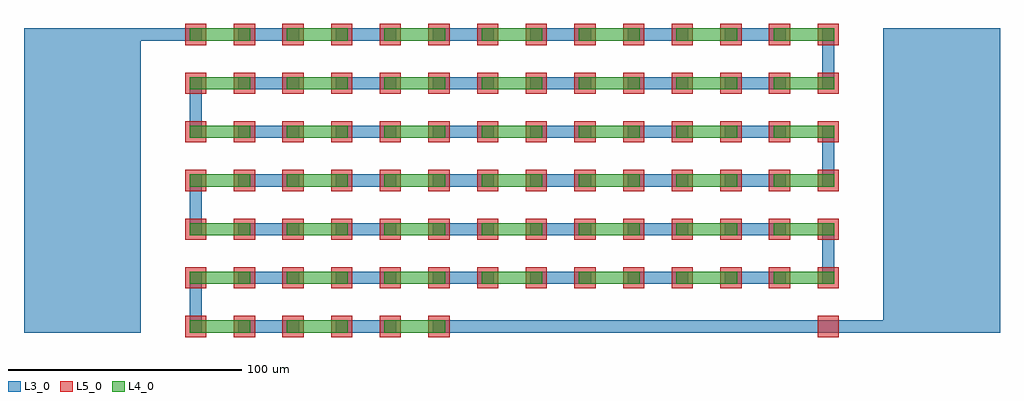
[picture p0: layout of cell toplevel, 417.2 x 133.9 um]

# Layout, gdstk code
from math import pi, radians
import gdstk
lib = gdstk.Library(unit=1e-6, precision=1e-09)
def R(c, l, rs):  # rectangles x0, y0, x1, y1
    for r in rs: c.add(gdstk.rectangle(r[:2], r[2:], *l))
L3_0 = (3, 0)
L4_0 = (4, 0)
L5_0 = (5, 0)

pad000001 = lib.new_cell('Pad000001')
R(pad000001, L3_0, [(0,0,50,130)])

waveguide000003 = lib.new_cell('waveguide000003')
R(waveguide000003, L3_0, [(0,0,26,5.2)])

via000004 = lib.new_cell('via000004')
R(via000004, L5_0, [(0,0,9.1,9.1)])

head_tail000002 = lib.new_cell('Head/Tail000002')
head_tail000002.add(gdstk.Reference(waveguide000003, (0,0)))
head_tail000002.add(gdstk.Reference(via000004, (-1.95,-1.95)))

pad000005 = lib.new_cell('Pad000005')
R(pad000005, L3_0, [(0,0,50,130)])

waveguide000007 = lib.new_cell('waveguide000007')
R(waveguide000007, L3_0, [(0,0,26,5.2)])

via000008 = lib.new_cell('via000008')
R(via000008, L5_0, [(0,0,9.1,9.1)])

head_tail000006 = lib.new_cell('Head/Tail000006')
head_tail000006.add(gdstk.Reference(waveguide000007, (0,0)))
head_tail000006.add(gdstk.Reference(via000008, (-1.95,-1.95)))

waveguide000010 = lib.new_cell('waveguide000010')
R(waveguide000010, L4_0, [(0,0,26,5.2)])

waveguide000011 = lib.new_cell('waveguide000011')
R(waveguide000011, L3_0, [(0,0,26,5.2)])

via000012 = lib.new_cell('via000012')
R(via000012, L5_0, [(0,0,9.1,9.1)])

waveguide000013 = lib.new_cell('waveguide000013')
R(waveguide000013, L4_0, [(0,0,26,5.2)])

via000014 = lib.new_cell('via000014')
R(via000014, L5_0, [(0,0,9.1,9.1)])

waveguide000015 = lib.new_cell('waveguide000015')
R(waveguide000015, L3_0, [(0,0,26,5.2)])

via000016 = lib.new_cell('via000016')
R(via000016, L5_0, [(0,0,9.1,9.1)])

waveguide000017 = lib.new_cell('waveguide000017')
R(waveguide000017, L4_0, [(0,0,26,5.2)])

via000018 = lib.new_cell('via000018')
R(via000018, L5_0, [(0,0,9.1,9.1)])

waveguide000019 = lib.new_cell('waveguide000019')
R(waveguide000019, L3_0, [(0,0,26,5.2)])

via000020 = lib.new_cell('via000020')
R(via000020, L5_0, [(0,0,9.1,9.1)])

waveguide000021 = lib.new_cell('waveguide000021')
R(waveguide000021, L4_0, [(0,0,26,5.2)])

via000022 = lib.new_cell('via000022')
R(via000022, L5_0, [(0,0,9.1,9.1)])

waveguide000023 = lib.new_cell('waveguide000023')
R(waveguide000023, L3_0, [(0,0,26,5.2)])

via000024 = lib.new_cell('via000024')
R(via000024, L5_0, [(0,0,9.1,9.1)])

waveguide000025 = lib.new_cell('waveguide000025')
R(waveguide000025, L4_0, [(0,0,26,5.2)])

via000026 = lib.new_cell('via000026')
R(via000026, L5_0, [(0,0,9.1,9.1)])

waveguide000027 = lib.new_cell('waveguide000027')
R(waveguide000027, L3_0, [(0,0,26,5.2)])

via000028 = lib.new_cell('via000028')
R(via000028, L5_0, [(0,0,9.1,9.1)])

waveguide000029 = lib.new_cell('waveguide000029')
R(waveguide000029, L4_0, [(0,0,26,5.2)])

via000030 = lib.new_cell('via000030')
R(via000030, L5_0, [(0,0,9.1,9.1)])

waveguide000031 = lib.new_cell('waveguide000031')
R(waveguide000031, L3_0, [(0,0,26,5.2)])

via000032 = lib.new_cell('via000032')
R(via000032, L5_0, [(0,0,9.1,9.1)])

waveguide000033 = lib.new_cell('waveguide000033')
R(waveguide000033, L4_0, [(0,0,26,5.2)])

via000034 = lib.new_cell('via000034')
R(via000034, L5_0, [(0,0,9.1,9.1)])

row000009 = lib.new_cell('Row000009')
row000009.add(gdstk.Reference(waveguide000010, (0,0)))
row000009.add(gdstk.Reference(waveguide000011, (20.8,0)))
row000009.add(gdstk.Reference(via000012, (18.85,-1.95)))
row000009.add(gdstk.Reference(waveguide000013, (41.6,0)))
row000009.add(gdstk.Reference(via000014, (39.65,-1.95)))
row000009.add(gdstk.Reference(waveguide000015, (62.4,0)))
row000009.add(gdstk.Reference(via000016, (60.45,-1.95)))
row000009.add(gdstk.Reference(waveguide000017, (83.2,0)))
row000009.add(gdstk.Reference(via000018, (81.25,-1.95)))
row000009.add(gdstk.Reference(waveguide000019, (104,0)))
row000009.add(gdstk.Reference(via000020, (102.05,-1.95)))
row000009.add(gdstk.Reference(waveguide000021, (124.8,0)))
row000009.add(gdstk.Reference(via000022, (122.85,-1.95)))
row000009.add(gdstk.Reference(waveguide000023, (145.6,0)))
row000009.add(gdstk.Reference(via000024, (143.65,-1.95)))
row000009.add(gdstk.Reference(waveguide000025, (166.4,0)))
row000009.add(gdstk.Reference(via000026, (164.45,-1.95)))
row000009.add(gdstk.Reference(waveguide000027, (187.2,0)))
row000009.add(gdstk.Reference(via000028, (185.25,-1.95)))
row000009.add(gdstk.Reference(waveguide000029, (208,0)))
row000009.add(gdstk.Reference(via000030, (206.05,-1.95)))
row000009.add(gdstk.Reference(waveguide000031, (228.8,0)))
row000009.add(gdstk.Reference(via000032, (226.85,-1.95)))
row000009.add(gdstk.Reference(waveguide000033, (249.6,0)))
row000009.add(gdstk.Reference(via000034, (247.65,-1.95)))

via000036 = lib.new_cell('via000036')
R(via000036, L5_0, [(0,0,9.1,9.1)])

via000037 = lib.new_cell('via000037')
R(via000037, L5_0, [(0,0,9.1,9.1)])

waveguide000038 = lib.new_cell('waveguide000038')
R(waveguide000038, L3_0, [(0,0,26,5.2)])

corner_top000035 = lib.new_cell('Corner Top000035')
corner_top000035.add(gdstk.Reference(via000036, (18.85,7.15), rotation=3*pi/2))
corner_top000035.add(gdstk.Reference(via000037, (7.15,-1.95), rotation=pi/2))
corner_top000035.add(gdstk.Reference(waveguide000038, (0,0)))

waveguide000040 = lib.new_cell('waveguide000040')
R(waveguide000040, L4_0, [(0,0,26,5.2)])

waveguide000041 = lib.new_cell('waveguide000041')
R(waveguide000041, L3_0, [(0,0,26,5.2)])

via000042 = lib.new_cell('via000042')
R(via000042, L5_0, [(0,0,9.1,9.1)])

waveguide000043 = lib.new_cell('waveguide000043')
R(waveguide000043, L4_0, [(0,0,26,5.2)])

via000044 = lib.new_cell('via000044')
R(via000044, L5_0, [(0,0,9.1,9.1)])

waveguide000045 = lib.new_cell('waveguide000045')
R(waveguide000045, L3_0, [(0,0,26,5.2)])

via000046 = lib.new_cell('via000046')
R(via000046, L5_0, [(0,0,9.1,9.1)])

waveguide000047 = lib.new_cell('waveguide000047')
R(waveguide000047, L4_0, [(0,0,26,5.2)])

via000048 = lib.new_cell('via000048')
R(via000048, L5_0, [(0,0,9.1,9.1)])

waveguide000049 = lib.new_cell('waveguide000049')
R(waveguide000049, L3_0, [(0,0,26,5.2)])

via000050 = lib.new_cell('via000050')
R(via000050, L5_0, [(0,0,9.1,9.1)])

waveguide000051 = lib.new_cell('waveguide000051')
R(waveguide000051, L4_0, [(0,0,26,5.2)])

via000052 = lib.new_cell('via000052')
R(via000052, L5_0, [(0,0,9.1,9.1)])

waveguide000053 = lib.new_cell('waveguide000053')
R(waveguide000053, L3_0, [(0,0,26,5.2)])

via000054 = lib.new_cell('via000054')
R(via000054, L5_0, [(0,0,9.1,9.1)])

waveguide000055 = lib.new_cell('waveguide000055')
R(waveguide000055, L4_0, [(0,0,26,5.2)])

via000056 = lib.new_cell('via000056')
R(via000056, L5_0, [(0,0,9.1,9.1)])

waveguide000057 = lib.new_cell('waveguide000057')
R(waveguide000057, L3_0, [(0,0,26,5.2)])

via000058 = lib.new_cell('via000058')
R(via000058, L5_0, [(0,0,9.1,9.1)])

waveguide000059 = lib.new_cell('waveguide000059')
R(waveguide000059, L4_0, [(0,0,26,5.2)])

via000060 = lib.new_cell('via000060')
R(via000060, L5_0, [(0,0,9.1,9.1)])

waveguide000061 = lib.new_cell('waveguide000061')
R(waveguide000061, L3_0, [(0,0,26,5.2)])

via000062 = lib.new_cell('via000062')
R(via000062, L5_0, [(0,0,9.1,9.1)])

waveguide000063 = lib.new_cell('waveguide000063')
R(waveguide000063, L4_0, [(0,0,26,5.2)])

via000064 = lib.new_cell('via000064')
R(via000064, L5_0, [(0,0,9.1,9.1)])

row000039 = lib.new_cell('Row000039')
row000039.add(gdstk.Reference(waveguide000040, (0,0)))
row000039.add(gdstk.Reference(waveguide000041, (20.8,0)))
row000039.add(gdstk.Reference(via000042, (18.85,-1.95)))
row000039.add(gdstk.Reference(waveguide000043, (41.6,0)))
row000039.add(gdstk.Reference(via000044, (39.65,-1.95)))
row000039.add(gdstk.Reference(waveguide000045, (62.4,0)))
row000039.add(gdstk.Reference(via000046, (60.45,-1.95)))
row000039.add(gdstk.Reference(waveguide000047, (83.2,0)))
row000039.add(gdstk.Reference(via000048, (81.25,-1.95)))
row000039.add(gdstk.Reference(waveguide000049, (104,0)))
row000039.add(gdstk.Reference(via000050, (102.05,-1.95)))
row000039.add(gdstk.Reference(waveguide000051, (124.8,0)))
row000039.add(gdstk.Reference(via000052, (122.85,-1.95)))
row000039.add(gdstk.Reference(waveguide000053, (145.6,0)))
row000039.add(gdstk.Reference(via000054, (143.65,-1.95)))
row000039.add(gdstk.Reference(waveguide000055, (166.4,0)))
row000039.add(gdstk.Reference(via000056, (164.45,-1.95)))
row000039.add(gdstk.Reference(waveguide000057, (187.2,0)))
row000039.add(gdstk.Reference(via000058, (185.25,-1.95)))
row000039.add(gdstk.Reference(waveguide000059, (208,0)))
row000039.add(gdstk.Reference(via000060, (206.05,-1.95)))
row000039.add(gdstk.Reference(waveguide000061, (228.8,0)))
row000039.add(gdstk.Reference(via000062, (226.85,-1.95)))
row000039.add(gdstk.Reference(waveguide000063, (249.6,0)))
row000039.add(gdstk.Reference(via000064, (247.65,-1.95)))

via000066 = lib.new_cell('via000066')
R(via000066, L5_0, [(0,0,9.1,9.1)])

via000067 = lib.new_cell('via000067')
R(via000067, L5_0, [(0,0,9.1,9.1)])

waveguide000068 = lib.new_cell('waveguide000068')
R(waveguide000068, L3_0, [(0,0,26,5.2)])

corner_top000065 = lib.new_cell('Corner Top000065')
corner_top000065.add(gdstk.Reference(via000066, (18.85,7.15), rotation=3*pi/2))
corner_top000065.add(gdstk.Reference(via000067, (7.15,-1.95), rotation=pi/2))
corner_top000065.add(gdstk.Reference(waveguide000068, (0,0)))

waveguide000070 = lib.new_cell('waveguide000070')
R(waveguide000070, L4_0, [(0,0,26,5.2)])

waveguide000071 = lib.new_cell('waveguide000071')
R(waveguide000071, L3_0, [(0,0,26,5.2)])

via000072 = lib.new_cell('via000072')
R(via000072, L5_0, [(0,0,9.1,9.1)])

waveguide000073 = lib.new_cell('waveguide000073')
R(waveguide000073, L4_0, [(0,0,26,5.2)])

via000074 = lib.new_cell('via000074')
R(via000074, L5_0, [(0,0,9.1,9.1)])

waveguide000075 = lib.new_cell('waveguide000075')
R(waveguide000075, L3_0, [(0,0,26,5.2)])

via000076 = lib.new_cell('via000076')
R(via000076, L5_0, [(0,0,9.1,9.1)])

waveguide000077 = lib.new_cell('waveguide000077')
R(waveguide000077, L4_0, [(0,0,26,5.2)])

via000078 = lib.new_cell('via000078')
R(via000078, L5_0, [(0,0,9.1,9.1)])

waveguide000079 = lib.new_cell('waveguide000079')
R(waveguide000079, L3_0, [(0,0,26,5.2)])

via000080 = lib.new_cell('via000080')
R(via000080, L5_0, [(0,0,9.1,9.1)])

waveguide000081 = lib.new_cell('waveguide000081')
R(waveguide000081, L4_0, [(0,0,26,5.2)])

via000082 = lib.new_cell('via000082')
R(via000082, L5_0, [(0,0,9.1,9.1)])

waveguide000083 = lib.new_cell('waveguide000083')
R(waveguide000083, L3_0, [(0,0,26,5.2)])

via000084 = lib.new_cell('via000084')
R(via000084, L5_0, [(0,0,9.1,9.1)])

waveguide000085 = lib.new_cell('waveguide000085')
R(waveguide000085, L4_0, [(0,0,26,5.2)])

via000086 = lib.new_cell('via000086')
R(via000086, L5_0, [(0,0,9.1,9.1)])

waveguide000087 = lib.new_cell('waveguide000087')
R(waveguide000087, L3_0, [(0,0,26,5.2)])

via000088 = lib.new_cell('via000088')
R(via000088, L5_0, [(0,0,9.1,9.1)])

waveguide000089 = lib.new_cell('waveguide000089')
R(waveguide000089, L4_0, [(0,0,26,5.2)])

via000090 = lib.new_cell('via000090')
R(via000090, L5_0, [(0,0,9.1,9.1)])

waveguide000091 = lib.new_cell('waveguide000091')
R(waveguide000091, L3_0, [(0,0,26,5.2)])

via000092 = lib.new_cell('via000092')
R(via000092, L5_0, [(0,0,9.1,9.1)])

waveguide000093 = lib.new_cell('waveguide000093')
R(waveguide000093, L4_0, [(0,0,26,5.2)])

via000094 = lib.new_cell('via000094')
R(via000094, L5_0, [(0,0,9.1,9.1)])

row000069 = lib.new_cell('Row000069')
row000069.add(gdstk.Reference(waveguide000070, (0,0)))
row000069.add(gdstk.Reference(waveguide000071, (20.8,0)))
row000069.add(gdstk.Reference(via000072, (18.85,-1.95)))
row000069.add(gdstk.Reference(waveguide000073, (41.6,0)))
row000069.add(gdstk.Reference(via000074, (39.65,-1.95)))
row000069.add(gdstk.Reference(waveguide000075, (62.4,0)))
row000069.add(gdstk.Reference(via000076, (60.45,-1.95)))
row000069.add(gdstk.Reference(waveguide000077, (83.2,0)))
row000069.add(gdstk.Reference(via000078, (81.25,-1.95)))
row000069.add(gdstk.Reference(waveguide000079, (104,0)))
row000069.add(gdstk.Reference(via000080, (102.05,-1.95)))
row000069.add(gdstk.Reference(waveguide000081, (124.8,0)))
row000069.add(gdstk.Reference(via000082, (122.85,-1.95)))
row000069.add(gdstk.Reference(waveguide000083, (145.6,0)))
row000069.add(gdstk.Reference(via000084, (143.65,-1.95)))
row000069.add(gdstk.Reference(waveguide000085, (166.4,0)))
row000069.add(gdstk.Reference(via000086, (164.45,-1.95)))
row000069.add(gdstk.Reference(waveguide000087, (187.2,0)))
row000069.add(gdstk.Reference(via000088, (185.25,-1.95)))
row000069.add(gdstk.Reference(waveguide000089, (208,0)))
row000069.add(gdstk.Reference(via000090, (206.05,-1.95)))
row000069.add(gdstk.Reference(waveguide000091, (228.8,0)))
row000069.add(gdstk.Reference(via000092, (226.85,-1.95)))
row000069.add(gdstk.Reference(waveguide000093, (249.6,0)))
row000069.add(gdstk.Reference(via000094, (247.65,-1.95)))

via000096 = lib.new_cell('via000096')
R(via000096, L5_0, [(0,0,9.1,9.1)])

via000097 = lib.new_cell('via000097')
R(via000097, L5_0, [(0,0,9.1,9.1)])

waveguide000098 = lib.new_cell('waveguide000098')
R(waveguide000098, L3_0, [(0,0,26,5.2)])

corner_top000095 = lib.new_cell('Corner Top000095')
corner_top000095.add(gdstk.Reference(via000096, (18.85,7.15), rotation=3*pi/2))
corner_top000095.add(gdstk.Reference(via000097, (7.15,-1.95), rotation=pi/2))
corner_top000095.add(gdstk.Reference(waveguide000098, (0,0)))

waveguide000100 = lib.new_cell('waveguide000100')
R(waveguide000100, L4_0, [(0,0,26,5.2)])

waveguide000101 = lib.new_cell('waveguide000101')
R(waveguide000101, L3_0, [(0,0,26,5.2)])

via000102 = lib.new_cell('via000102')
R(via000102, L5_0, [(0,0,9.1,9.1)])

waveguide000103 = lib.new_cell('waveguide000103')
R(waveguide000103, L4_0, [(0,0,26,5.2)])

via000104 = lib.new_cell('via000104')
R(via000104, L5_0, [(0,0,9.1,9.1)])

waveguide000105 = lib.new_cell('waveguide000105')
R(waveguide000105, L3_0, [(0,0,26,5.2)])

via000106 = lib.new_cell('via000106')
R(via000106, L5_0, [(0,0,9.1,9.1)])

waveguide000107 = lib.new_cell('waveguide000107')
R(waveguide000107, L4_0, [(0,0,26,5.2)])

via000108 = lib.new_cell('via000108')
R(via000108, L5_0, [(0,0,9.1,9.1)])

waveguide000109 = lib.new_cell('waveguide000109')
R(waveguide000109, L3_0, [(0,0,26,5.2)])

via000110 = lib.new_cell('via000110')
R(via000110, L5_0, [(0,0,9.1,9.1)])

waveguide000111 = lib.new_cell('waveguide000111')
R(waveguide000111, L4_0, [(0,0,26,5.2)])

via000112 = lib.new_cell('via000112')
R(via000112, L5_0, [(0,0,9.1,9.1)])

waveguide000113 = lib.new_cell('waveguide000113')
R(waveguide000113, L3_0, [(0,0,26,5.2)])

via000114 = lib.new_cell('via000114')
R(via000114, L5_0, [(0,0,9.1,9.1)])

waveguide000115 = lib.new_cell('waveguide000115')
R(waveguide000115, L4_0, [(0,0,26,5.2)])

via000116 = lib.new_cell('via000116')
R(via000116, L5_0, [(0,0,9.1,9.1)])

waveguide000117 = lib.new_cell('waveguide000117')
R(waveguide000117, L3_0, [(0,0,26,5.2)])

via000118 = lib.new_cell('via000118')
R(via000118, L5_0, [(0,0,9.1,9.1)])

waveguide000119 = lib.new_cell('waveguide000119')
R(waveguide000119, L4_0, [(0,0,26,5.2)])

via000120 = lib.new_cell('via000120')
R(via000120, L5_0, [(0,0,9.1,9.1)])

waveguide000121 = lib.new_cell('waveguide000121')
R(waveguide000121, L3_0, [(0,0,26,5.2)])

via000122 = lib.new_cell('via000122')
R(via000122, L5_0, [(0,0,9.1,9.1)])

waveguide000123 = lib.new_cell('waveguide000123')
R(waveguide000123, L4_0, [(0,0,26,5.2)])

via000124 = lib.new_cell('via000124')
R(via000124, L5_0, [(0,0,9.1,9.1)])

row000099 = lib.new_cell('Row000099')
row000099.add(gdstk.Reference(waveguide000100, (0,0)))
row000099.add(gdstk.Reference(waveguide000101, (20.8,0)))
row000099.add(gdstk.Reference(via000102, (18.85,-1.95)))
row000099.add(gdstk.Reference(waveguide000103, (41.6,0)))
row000099.add(gdstk.Reference(via000104, (39.65,-1.95)))
row000099.add(gdstk.Reference(waveguide000105, (62.4,0)))
row000099.add(gdstk.Reference(via000106, (60.45,-1.95)))
row000099.add(gdstk.Reference(waveguide000107, (83.2,0)))
row000099.add(gdstk.Reference(via000108, (81.25,-1.95)))
row000099.add(gdstk.Reference(waveguide000109, (104,0)))
row000099.add(gdstk.Reference(via000110, (102.05,-1.95)))
row000099.add(gdstk.Reference(waveguide000111, (124.8,0)))
row000099.add(gdstk.Reference(via000112, (122.85,-1.95)))
row000099.add(gdstk.Reference(waveguide000113, (145.6,0)))
row000099.add(gdstk.Reference(via000114, (143.65,-1.95)))
row000099.add(gdstk.Reference(waveguide000115, (166.4,0)))
row000099.add(gdstk.Reference(via000116, (164.45,-1.95)))
row000099.add(gdstk.Reference(waveguide000117, (187.2,0)))
row000099.add(gdstk.Reference(via000118, (185.25,-1.95)))
row000099.add(gdstk.Reference(waveguide000119, (208,0)))
row000099.add(gdstk.Reference(via000120, (206.05,-1.95)))
row000099.add(gdstk.Reference(waveguide000121, (228.8,0)))
row000099.add(gdstk.Reference(via000122, (226.85,-1.95)))
row000099.add(gdstk.Reference(waveguide000123, (249.6,0)))
row000099.add(gdstk.Reference(via000124, (247.65,-1.95)))

via000126 = lib.new_cell('via000126')
R(via000126, L5_0, [(0,0,9.1,9.1)])

via000127 = lib.new_cell('via000127')
R(via000127, L5_0, [(0,0,9.1,9.1)])

waveguide000128 = lib.new_cell('waveguide000128')
R(waveguide000128, L3_0, [(0,0,26,5.2)])

corner_top000125 = lib.new_cell('Corner Top000125')
corner_top000125.add(gdstk.Reference(via000126, (18.85,7.15), rotation=3*pi/2))
corner_top000125.add(gdstk.Reference(via000127, (7.15,-1.95), rotation=pi/2))
corner_top000125.add(gdstk.Reference(waveguide000128, (0,0)))

waveguide000130 = lib.new_cell('waveguide000130')
R(waveguide000130, L4_0, [(0,0,26,5.2)])

waveguide000131 = lib.new_cell('waveguide000131')
R(waveguide000131, L3_0, [(0,0,26,5.2)])

via000132 = lib.new_cell('via000132')
R(via000132, L5_0, [(0,0,9.1,9.1)])

waveguide000133 = lib.new_cell('waveguide000133')
R(waveguide000133, L4_0, [(0,0,26,5.2)])

via000134 = lib.new_cell('via000134')
R(via000134, L5_0, [(0,0,9.1,9.1)])

waveguide000135 = lib.new_cell('waveguide000135')
R(waveguide000135, L3_0, [(0,0,26,5.2)])

via000136 = lib.new_cell('via000136')
R(via000136, L5_0, [(0,0,9.1,9.1)])

waveguide000137 = lib.new_cell('waveguide000137')
R(waveguide000137, L4_0, [(0,0,26,5.2)])

via000138 = lib.new_cell('via000138')
R(via000138, L5_0, [(0,0,9.1,9.1)])

waveguide000139 = lib.new_cell('waveguide000139')
R(waveguide000139, L3_0, [(0,0,26,5.2)])

via000140 = lib.new_cell('via000140')
R(via000140, L5_0, [(0,0,9.1,9.1)])

waveguide000141 = lib.new_cell('waveguide000141')
R(waveguide000141, L4_0, [(0,0,26,5.2)])

via000142 = lib.new_cell('via000142')
R(via000142, L5_0, [(0,0,9.1,9.1)])

waveguide000143 = lib.new_cell('waveguide000143')
R(waveguide000143, L3_0, [(0,0,26,5.2)])

via000144 = lib.new_cell('via000144')
R(via000144, L5_0, [(0,0,9.1,9.1)])

waveguide000145 = lib.new_cell('waveguide000145')
R(waveguide000145, L4_0, [(0,0,26,5.2)])

via000146 = lib.new_cell('via000146')
R(via000146, L5_0, [(0,0,9.1,9.1)])

waveguide000147 = lib.new_cell('waveguide000147')
R(waveguide000147, L3_0, [(0,0,26,5.2)])

via000148 = lib.new_cell('via000148')
R(via000148, L5_0, [(0,0,9.1,9.1)])

waveguide000149 = lib.new_cell('waveguide000149')
R(waveguide000149, L4_0, [(0,0,26,5.2)])

via000150 = lib.new_cell('via000150')
R(via000150, L5_0, [(0,0,9.1,9.1)])

waveguide000151 = lib.new_cell('waveguide000151')
R(waveguide000151, L3_0, [(0,0,26,5.2)])

via000152 = lib.new_cell('via000152')
R(via000152, L5_0, [(0,0,9.1,9.1)])

waveguide000153 = lib.new_cell('waveguide000153')
R(waveguide000153, L4_0, [(0,0,26,5.2)])

via000154 = lib.new_cell('via000154')
R(via000154, L5_0, [(0,0,9.1,9.1)])

row000129 = lib.new_cell('Row000129')
row000129.add(gdstk.Reference(waveguide000130, (0,0)))
row000129.add(gdstk.Reference(waveguide000131, (20.8,0)))
row000129.add(gdstk.Reference(via000132, (18.85,-1.95)))
row000129.add(gdstk.Reference(waveguide000133, (41.6,0)))
row000129.add(gdstk.Reference(via000134, (39.65,-1.95)))
row000129.add(gdstk.Reference(waveguide000135, (62.4,0)))
row000129.add(gdstk.Reference(via000136, (60.45,-1.95)))
row000129.add(gdstk.Reference(waveguide000137, (83.2,0)))
row000129.add(gdstk.Reference(via000138, (81.25,-1.95)))
row000129.add(gdstk.Reference(waveguide000139, (104,0)))
row000129.add(gdstk.Reference(via000140, (102.05,-1.95)))
row000129.add(gdstk.Reference(waveguide000141, (124.8,0)))
row000129.add(gdstk.Reference(via000142, (122.85,-1.95)))
row000129.add(gdstk.Reference(waveguide000143, (145.6,0)))
row000129.add(gdstk.Reference(via000144, (143.65,-1.95)))
row000129.add(gdstk.Reference(waveguide000145, (166.4,0)))
row000129.add(gdstk.Reference(via000146, (164.45,-1.95)))
row000129.add(gdstk.Reference(waveguide000147, (187.2,0)))
row000129.add(gdstk.Reference(via000148, (185.25,-1.95)))
row000129.add(gdstk.Reference(waveguide000149, (208,0)))
row000129.add(gdstk.Reference(via000150, (206.05,-1.95)))
row000129.add(gdstk.Reference(waveguide000151, (228.8,0)))
row000129.add(gdstk.Reference(via000152, (226.85,-1.95)))
row000129.add(gdstk.Reference(waveguide000153, (249.6,0)))
row000129.add(gdstk.Reference(via000154, (247.65,-1.95)))

via000156 = lib.new_cell('via000156')
R(via000156, L5_0, [(0,0,9.1,9.1)])

via000157 = lib.new_cell('via000157')
R(via000157, L5_0, [(0,0,9.1,9.1)])

waveguide000158 = lib.new_cell('waveguide000158')
R(waveguide000158, L3_0, [(0,0,26,5.2)])

corner_top000155 = lib.new_cell('Corner Top000155')
corner_top000155.add(gdstk.Reference(via000156, (18.85,7.15), rotation=3*pi/2))
corner_top000155.add(gdstk.Reference(via000157, (7.15,-1.95), rotation=pi/2))
corner_top000155.add(gdstk.Reference(waveguide000158, (0,0)))

waveguide000160 = lib.new_cell('waveguide000160')
R(waveguide000160, L4_0, [(0,0,26,5.2)])

waveguide000161 = lib.new_cell('waveguide000161')
R(waveguide000161, L3_0, [(0,0,26,5.2)])

via000162 = lib.new_cell('via000162')
R(via000162, L5_0, [(0,0,9.1,9.1)])

waveguide000163 = lib.new_cell('waveguide000163')
R(waveguide000163, L4_0, [(0,0,26,5.2)])

via000164 = lib.new_cell('via000164')
R(via000164, L5_0, [(0,0,9.1,9.1)])

waveguide000165 = lib.new_cell('waveguide000165')
R(waveguide000165, L3_0, [(0,0,26,5.2)])

via000166 = lib.new_cell('via000166')
R(via000166, L5_0, [(0,0,9.1,9.1)])

waveguide000167 = lib.new_cell('waveguide000167')
R(waveguide000167, L4_0, [(0,0,26,5.2)])

via000168 = lib.new_cell('via000168')
R(via000168, L5_0, [(0,0,9.1,9.1)])

waveguide000169 = lib.new_cell('waveguide000169')
R(waveguide000169, L3_0, [(0,0,26,5.2)])

via000170 = lib.new_cell('via000170')
R(via000170, L5_0, [(0,0,9.1,9.1)])

waveguide000171 = lib.new_cell('waveguide000171')
R(waveguide000171, L4_0, [(0,0,26,5.2)])

via000172 = lib.new_cell('via000172')
R(via000172, L5_0, [(0,0,9.1,9.1)])

waveguide000173 = lib.new_cell('waveguide000173')
R(waveguide000173, L3_0, [(0,0,26,5.2)])

via000174 = lib.new_cell('via000174')
R(via000174, L5_0, [(0,0,9.1,9.1)])

waveguide000175 = lib.new_cell('waveguide000175')
R(waveguide000175, L4_0, [(0,0,26,5.2)])

via000176 = lib.new_cell('via000176')
R(via000176, L5_0, [(0,0,9.1,9.1)])

waveguide000177 = lib.new_cell('waveguide000177')
R(waveguide000177, L3_0, [(0,0,26,5.2)])

via000178 = lib.new_cell('via000178')
R(via000178, L5_0, [(0,0,9.1,9.1)])

waveguide000179 = lib.new_cell('waveguide000179')
R(waveguide000179, L4_0, [(0,0,26,5.2)])

via000180 = lib.new_cell('via000180')
R(via000180, L5_0, [(0,0,9.1,9.1)])

waveguide000181 = lib.new_cell('waveguide000181')
R(waveguide000181, L3_0, [(0,0,26,5.2)])

via000182 = lib.new_cell('via000182')
R(via000182, L5_0, [(0,0,9.1,9.1)])

waveguide000183 = lib.new_cell('waveguide000183')
R(waveguide000183, L4_0, [(0,0,26,5.2)])

via000184 = lib.new_cell('via000184')
R(via000184, L5_0, [(0,0,9.1,9.1)])

row000159 = lib.new_cell('Row000159')
row000159.add(gdstk.Reference(waveguide000160, (0,0)))
row000159.add(gdstk.Reference(waveguide000161, (20.8,0)))
row000159.add(gdstk.Reference(via000162, (18.85,-1.95)))
row000159.add(gdstk.Reference(waveguide000163, (41.6,0)))
row000159.add(gdstk.Reference(via000164, (39.65,-1.95)))
row000159.add(gdstk.Reference(waveguide000165, (62.4,0)))
row000159.add(gdstk.Reference(via000166, (60.45,-1.95)))
row000159.add(gdstk.Reference(waveguide000167, (83.2,0)))
row000159.add(gdstk.Reference(via000168, (81.25,-1.95)))
row000159.add(gdstk.Reference(waveguide000169, (104,0)))
row000159.add(gdstk.Reference(via000170, (102.05,-1.95)))
row000159.add(gdstk.Reference(waveguide000171, (124.8,0)))
row000159.add(gdstk.Reference(via000172, (122.85,-1.95)))
row000159.add(gdstk.Reference(waveguide000173, (145.6,0)))
row000159.add(gdstk.Reference(via000174, (143.65,-1.95)))
row000159.add(gdstk.Reference(waveguide000175, (166.4,0)))
row000159.add(gdstk.Reference(via000176, (164.45,-1.95)))
row000159.add(gdstk.Reference(waveguide000177, (187.2,0)))
row000159.add(gdstk.Reference(via000178, (185.25,-1.95)))
row000159.add(gdstk.Reference(waveguide000179, (208,0)))
row000159.add(gdstk.Reference(via000180, (206.05,-1.95)))
row000159.add(gdstk.Reference(waveguide000181, (228.8,0)))
row000159.add(gdstk.Reference(via000182, (226.85,-1.95)))
row000159.add(gdstk.Reference(waveguide000183, (249.6,0)))
row000159.add(gdstk.Reference(via000184, (247.65,-1.95)))

via000186 = lib.new_cell('via000186')
R(via000186, L5_0, [(0,0,9.1,9.1)])

via000187 = lib.new_cell('via000187')
R(via000187, L5_0, [(0,0,9.1,9.1)])

waveguide000188 = lib.new_cell('waveguide000188')
R(waveguide000188, L3_0, [(0,0,26,5.2)])

corner_top000185 = lib.new_cell('Corner Top000185')
corner_top000185.add(gdstk.Reference(via000186, (18.85,7.15), rotation=3*pi/2))
corner_top000185.add(gdstk.Reference(via000187, (7.15,-1.95), rotation=pi/2))
corner_top000185.add(gdstk.Reference(waveguide000188, (0,0)))

waveguide000191 = lib.new_cell('waveguide000191')
R(waveguide000191, L4_0, [(0,0,26,5.2)])

waveguide000192 = lib.new_cell('waveguide000192')
R(waveguide000192, L3_0, [(0,0,26,5.2)])

via000193 = lib.new_cell('via000193')
R(via000193, L5_0, [(0,0,9.1,9.1)])

waveguide000194 = lib.new_cell('waveguide000194')
R(waveguide000194, L4_0, [(0,0,26,5.2)])

via000195 = lib.new_cell('via000195')
R(via000195, L5_0, [(0,0,9.1,9.1)])

waveguide000196 = lib.new_cell('waveguide000196')
R(waveguide000196, L3_0, [(0,0,26,5.2)])

via000197 = lib.new_cell('via000197')
R(via000197, L5_0, [(0,0,9.1,9.1)])

waveguide000198 = lib.new_cell('waveguide000198')
R(waveguide000198, L4_0, [(0,0,26,5.2)])

via000199 = lib.new_cell('via000199')
R(via000199, L5_0, [(0,0,9.1,9.1)])

waveguide000200 = lib.new_cell('waveguide000200')
R(waveguide000200, L3_0, [(0,0,26,5.2)])

via000201 = lib.new_cell('via000201')
R(via000201, L5_0, [(0,0,9.1,9.1)])

row000190 = lib.new_cell('Row000190')
row000190.add(gdstk.Reference(waveguide000191, (0,0)))
row000190.add(gdstk.Reference(waveguide000192, (20.8,0)))
row000190.add(gdstk.Reference(via000193, (18.85,-1.95)))
row000190.add(gdstk.Reference(waveguide000194, (41.6,0)))
row000190.add(gdstk.Reference(via000195, (39.65,-1.95)))
row000190.add(gdstk.Reference(waveguide000196, (62.4,0)))
row000190.add(gdstk.Reference(via000197, (60.45,-1.95)))
row000190.add(gdstk.Reference(waveguide000198, (83.2,0)))
row000190.add(gdstk.Reference(via000199, (81.25,-1.95)))
row000190.add(gdstk.Reference(waveguide000200, (104,0)))
row000190.add(gdstk.Reference(via000201, (102.05,-1.95)))

waveguide000202 = lib.new_cell('waveguide000202')
R(waveguide000202, L3_0, [(0,0,145.6,5.2)])

last_row000189 = lib.new_cell('Last Row000189')
last_row000189.add(gdstk.Reference(row000190, (0,0)))
last_row000189.add(gdstk.Reference(waveguide000202, (130,0)))

toplevel = lib.new_cell('toplevel')
toplevel.add(gdstk.Reference(pad000001, (50,130), rotation=pi))
toplevel.add(gdstk.Reference(head_tail000002, (341.2,0)))
toplevel.add(gdstk.Reference(pad000005, (367.2,0)))
toplevel.add(gdstk.Reference(head_tail000006, (76,130), rotation=pi))
toplevel.add(gdstk.Reference(row000009, (70.8,124.8)))
toplevel.add(gdstk.Reference(corner_top000035, (341.2,130), rotation=3*pi/2))
toplevel.add(gdstk.Reference(row000039, (70.8,104)))
toplevel.add(gdstk.Reference(corner_top000065, (76,83.2), rotation=pi/2))
toplevel.add(gdstk.Reference(row000069, (70.8,83.2)))
toplevel.add(gdstk.Reference(corner_top000095, (341.2,88.4), rotation=3*pi/2))
toplevel.add(gdstk.Reference(row000099, (70.8,62.4)))
toplevel.add(gdstk.Reference(corner_top000125, (76,41.6), rotation=pi/2))
toplevel.add(gdstk.Reference(row000129, (70.8,41.6)))
toplevel.add(gdstk.Reference(corner_top000155, (341.2,46.8), rotation=3*pi/2))
toplevel.add(gdstk.Reference(row000159, (70.8,20.8)))
toplevel.add(gdstk.Reference(corner_top000185, (76,0), rotation=pi/2))
toplevel.add(gdstk.Reference(last_row000189, (70.8,0)))

lib.write_gds('toplevel.gds')
